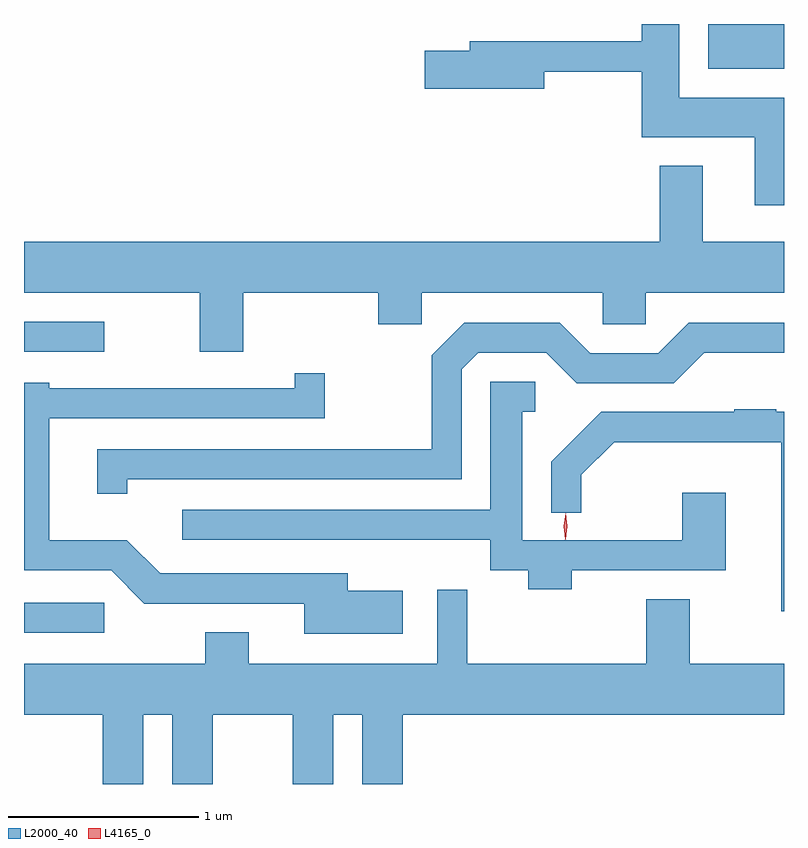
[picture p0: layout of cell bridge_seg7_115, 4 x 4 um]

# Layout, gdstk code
import gdstk
lib = gdstk.Library(unit=1e-6, precision=1e-09)
def R(c, l, rs):  # rectangles x0, y0, x1, y1
    for r in rs: c.add(gdstk.rectangle(r[:2], r[2:], *l))
def P(c, l, *ps):  # polygons
    for p in ps: c.add(gdstk.Polygon(p, *l))
L2000_40 = (2000, 40)
L4165_0 = (4165, 0)

bridge_seg7_115 = lib.new_cell('bridge_seg7_115')
R(bridge_seg7_115, L2000_40, [(1556.996,1774.686,1557.418,1774.844), (1556.996,1776.166,1557.418,1776.324), (1560.596,1777.656,1560.996,1777.891)])
P(bridge_seg7_115, L2000_40, [(1560.996,1777.504),(1560.444,1777.504),(1560.444,1777.891),(1560.246,1777.891),(1560.246,1777.799),(1559.341,1777.799),(1559.341,1777.749),(1559.106,1777.749),(1559.106,1777.551),(1559.734,1777.551),(1559.734,1777.641),(1560.246,1777.641),(1560.246,1777.296),(1560.841,1777.296),(1560.841,1776.936),(1560.996,1776.936)],
  [(1558.149,1776.476),(1558.861,1776.476),(1558.861,1776.311),(1559.089,1776.311),(1559.089,1776.476),(1560.041,1776.476),(1560.041,1776.311),(1560.269,1776.311),(1560.269,1776.476),(1560.996,1776.476),(1560.996,1776.744),(1560.569,1776.744),(1560.569,1777.144),(1560.341,1777.144),(1560.341,1776.744),(1556.996,1776.744),(1556.996,1776.476),(1557.921,1776.476),(1557.921,1776.166),(1558.149,1776.166)],
  [(1557.539,1775.496),(1559.299,1775.496),(1559.299,1776.074),(1559.387,1776.161),(1559.744,1776.161),(1559.904,1776.001),(1560.417,1776.001),(1560.577,1776.161),(1560.996,1776.161),(1560.996,1776.319),(1560.494,1776.319),(1560.334,1776.159),(1559.977,1776.159),(1559.817,1776.319),(1559.314,1776.319),(1559.141,1776.147),(1559.141,1775.654),(1557.381,1775.654),(1557.381,1775.418),(1557.539,1775.418)],
  [(1558.989,1774.909),(1558.699,1774.909),(1558.699,1774.999),(1557.712,1774.999),(1557.537,1775.174),(1557.129,1775.174),(1557.129,1775.816),(1558.579,1775.816),(1558.579,1776.053),(1558.421,1776.053),(1558.421,1775.974),(1557.129,1775.974),(1557.129,1776.004),(1556.996,1776.004),(1556.996,1775.016),(1557.454,1775.016),(1557.629,1774.841),(1558.471,1774.841),(1558.471,1774.681),(1558.989,1774.681)],
  [(1559.879,1775.016),(1560.689,1775.016),(1560.689,1775.424),(1560.461,1775.424),(1560.461,1775.174),(1559.619,1775.174),(1559.619,1775.851),(1559.688,1775.851),(1559.688,1776.009),(1559.451,1776.009),(1559.451,1775.334),(1557.828,1775.334),(1557.828,1775.176),(1559.451,1775.176),(1559.451,1775.016),(1559.651,1775.016),(1559.651,1774.916),(1559.879,1774.916)],
  [(1560.996,1775.849),(1560.955,1775.849),(1560.955,1775.864),(1560.735,1775.864),(1560.735,1775.849),(1560.034,1775.849),(1559.771,1775.587),(1559.771,1775.318),(1559.929,1775.318),(1559.929,1775.519),(1560.102,1775.691),(1560.981,1775.691),(1560.981,1774.801),(1560.996,1774.801)],
  [(1558.179,1774.689),(1557.951,1774.689),(1557.951,1774.524),(1556.996,1774.524),(1556.996,1774.256),(1557.411,1774.256),(1557.411,1773.891),(1557.624,1773.891),(1557.624,1774.256),(1557.776,1774.256),(1557.776,1773.891),(1557.989,1773.891),(1557.989,1774.256),(1558.411,1774.256),(1558.411,1773.891),(1558.624,1773.891),(1558.624,1774.256),(1558.776,1774.256),(1558.776,1773.891),(1558.989,1773.891),(1558.989,1774.256),(1560.996,1774.256),(1560.996,1774.524),(1560.499,1774.524),(1560.499,1774.864),(1560.271,1774.864),(1560.271,1774.524),(1559.329,1774.524),(1559.329,1774.913),(1559.171,1774.913),(1559.171,1774.524),(1558.179,1774.524)])
P(bridge_seg7_115, L4165_0, [(1559.845,1775.177),(1559.845,1775.178),(1559.836,1775.247),(1559.846,1775.316),(1559.847,1775.317),(1559.848,1775.316),(1559.856,1775.247),(1559.846,1775.178)])

lib.write_gds('bridge_seg7_115.gds')
